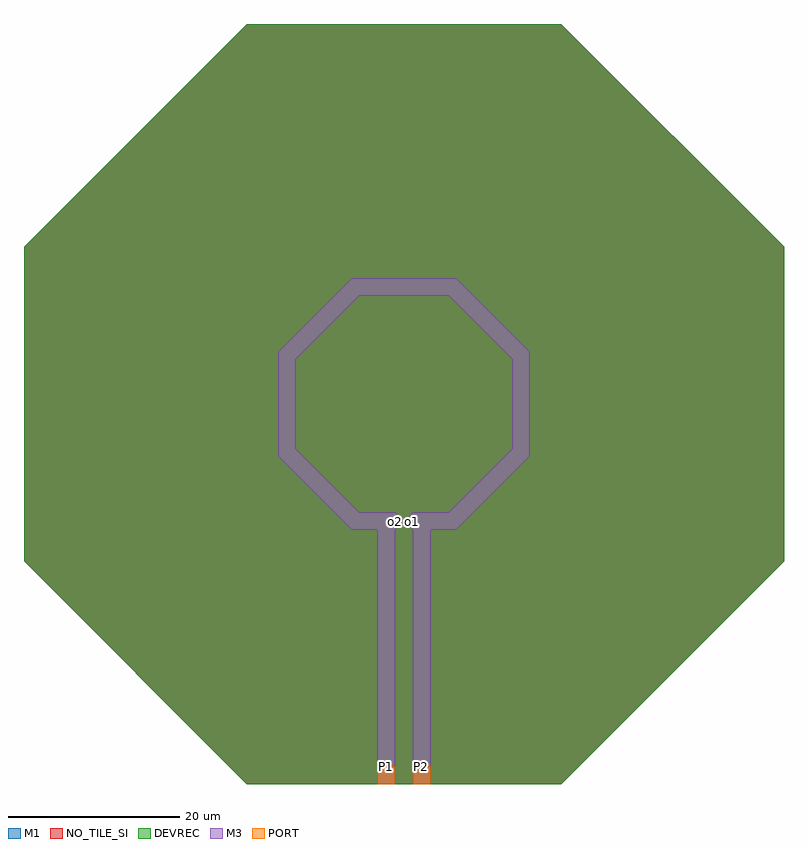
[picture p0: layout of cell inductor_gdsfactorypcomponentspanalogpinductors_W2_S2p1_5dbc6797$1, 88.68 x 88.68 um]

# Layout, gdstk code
import gdstk
lib = gdstk.Library(unit=1e-6, precision=1e-09)
def R(c, l, rs):  # rectangles x0, y0, x1, y1
    for r in rs: c.add(gdstk.rectangle(r[:2], r[2:], *l))
def P(c, l, *ps):  # polygons
    for p in ps: c.add(gdstk.Polygon(p, *l))
PORT = (1, 10)
M1 = (41, 0)
M3 = (49, 0)
DEVREC = (68, 0)
NO_TILE_SI = (71, 0)

rectangle_gdsfactorypcom = lib.new_cell('rectangle_gdsfactorypcomponentspshapesprectangle_S2p1_2_6cdef846')
R(rectangle_gdsfactorypcom, PORT, [(0,0,2.1,2.1)])

c_rectangle_gdsfactorypcom = lib.new_cell('rectangle_gdsfactorypcomponentspshapesprectangle_S2p1_3_e7e1313e')
R(c_rectangle_gdsfactorypcom, M3, [(0,0,2.1,31.66)])

inductor_gdsfactorypcomp = lib.new_cell('inductor_gdsfactorypcomponentspanalogpinductors_W2_S2p1_5dbc6797$1')
P(inductor_gdsfactorypcomp, M1, [(-18.366,0),(-44.34,25.974),(-44.34,62.706),(-18.366,88.68),(18.366,88.68),(44.34,62.706),(44.34,25.974),(18.366,0)])
P(inductor_gdsfactorypcomp, M3, [(-1.05,29.685),(-1.05,30.685),(-0.95,30.685),(-0.95,29.935),(-0.191,30.685),(-1.05,30.685),(-1.05,31.685),(-0.05,30.685)],
  [(-2.1,1.05),(-3.045,1.995),(-2.888,1.995),(-2.1,1.198),(-2.1,1.995),(-3.045,1.995),(-3.15,2.1),(-1.05,2.1)],
  [(2.1,1.05),(1.155,1.995),(1.312,1.995),(2.1,1.198),(2.1,1.995),(1.155,1.995),(1.05,2.1),(3.15,2.1)],
  [(1.05,29.685),(0.05,30.685),(0.8,31.435),(0.95,31.435),(0.191,30.685),(0.95,30.685),(0.95,31.435),(0.8,31.435),(1.05,31.685)],
  [(-6.07,29.685),(-14.655,38.27),(-14.655,50.41),(-6.07,58.995),(6.07,58.995),(14.655,50.41),(14.655,38.27),(6.07,29.685),(1.05,29.685),(1.05,31.685),(5.242,31.685),(12.655,39.098),(12.655,49.582),(5.242,56.995),(-5.242,56.995),(-12.655,49.582),(-12.655,39.098),(-5.242,31.685),(-1.05,31.685),(-1.05,29.685)])
P(inductor_gdsfactorypcomp, DEVREC, [(-18.366,0),(-44.34,25.974),(-44.34,62.706),(-18.366,88.68),(18.366,88.68),(44.34,62.706),(44.34,25.974),(18.366,0)])
P(inductor_gdsfactorypcomp, NO_TILE_SI, [(-18.366,0),(-44.34,25.974),(-44.34,62.706),(-18.366,88.68),(18.366,88.68),(44.34,62.706),(44.34,25.974),(18.366,0)])
inductor_gdsfactorypcomp.add(gdstk.Reference(rectangle_gdsfactorypcom, (-3.15,0)))
inductor_gdsfactorypcomp.add(gdstk.Reference(rectangle_gdsfactorypcom, (1.05,0)))
inductor_gdsfactorypcomp.add(gdstk.Reference(c_rectangle_gdsfactorypcom, (-3.15,0)))
inductor_gdsfactorypcomp.add(gdstk.Reference(c_rectangle_gdsfactorypcom, (1.05,0)))
inductor_gdsfactorypcomp.add(gdstk.Label('P2', (2.1,2.1), layer=49, texttype=0))
inductor_gdsfactorypcomp.add(gdstk.Label('P1', (-2.1,2.1), layer=49, texttype=0))
inductor_gdsfactorypcomp.add(gdstk.Label('o2', (-1.05,30.685), layer=49, texttype=0))
inductor_gdsfactorypcomp.add(gdstk.Label('o1', (1.05,30.685), layer=49, texttype=0))

lib.write_gds('inductor_gdsfactorypcomponentspanalogpinductors_W2_S2p1_5dbc6797_1.gds')
